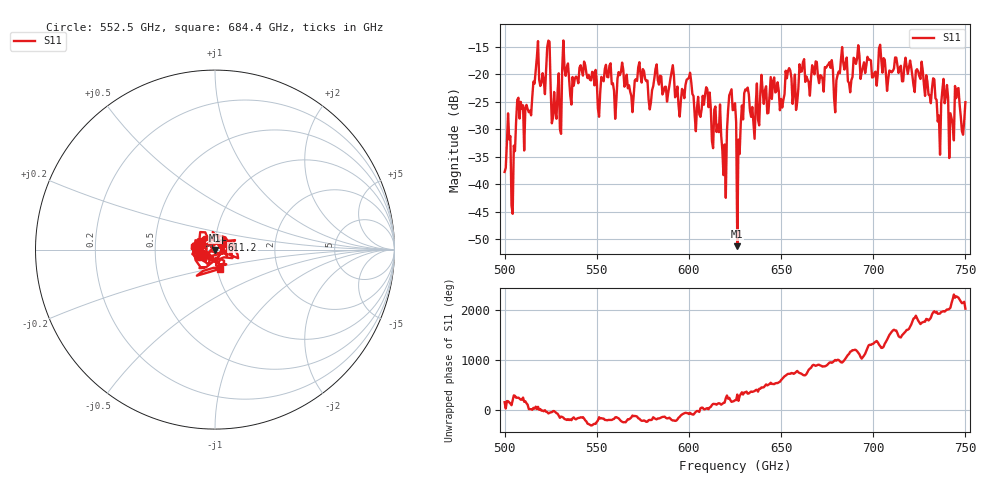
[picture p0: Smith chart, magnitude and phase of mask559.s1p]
!Created with skrf (http://scikit-rf.org).
# GHz S MA R 50.0
!freq magS11 angS11
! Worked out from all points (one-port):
!   401 points, 500 GHz to 750 GHz, reference 50 ohm
!   lowest |S11| = -51.3 dB at 626.2 GHz (marker M1), VSWR 1.01, Z = 50.2 - j0.198 ohm
!   |S11| at or under -10 dB: start of sweep to end of sweep
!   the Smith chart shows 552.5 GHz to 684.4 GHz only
!   S11 on the Smith chart (normalised r, x): 552.5 GHz: 0.84, -0.06; 611.2 GHz: 1.07, +0.12; 684.4 GHz: 1.03, -0.22
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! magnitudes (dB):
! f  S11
! 500 GHz  -37.8
! 501.9 GHz  -27.1
! 505 GHz  -33.0
! 507.5 GHz  -24.3
! 513.8 GHz  -26.6
! 516.9 GHz  -19.2
! 523.8 GHz  -13.9
! 526.9 GHz  -23.2
! 531.2 GHz  -19.0
! 552.5 GHz  -20.5
! 562.5 GHz  -20.2
! 593.8 GHz  -22.2
! 611.2 GHz  -23.3
! 618.8 GHz  -38.4
! 622.5 GHz  -23.3
! 625 GHz  -25.3
! 626.2 GHz  -51.3
! 631.2 GHz  -22.9
! 634.4 GHz  -25.9
! 656.2 GHz  -25.4
! 684.4 GHz  -19.1
! 687.5 GHz  -23.3
! 718.8 GHz  -19.9
! 735.6 GHz  -27.5
! 739.4 GHz  -24.1
! 742.5 GHz  -28.0
! 745.6 GHz  -22.6
! 750 GHz  -25.1
